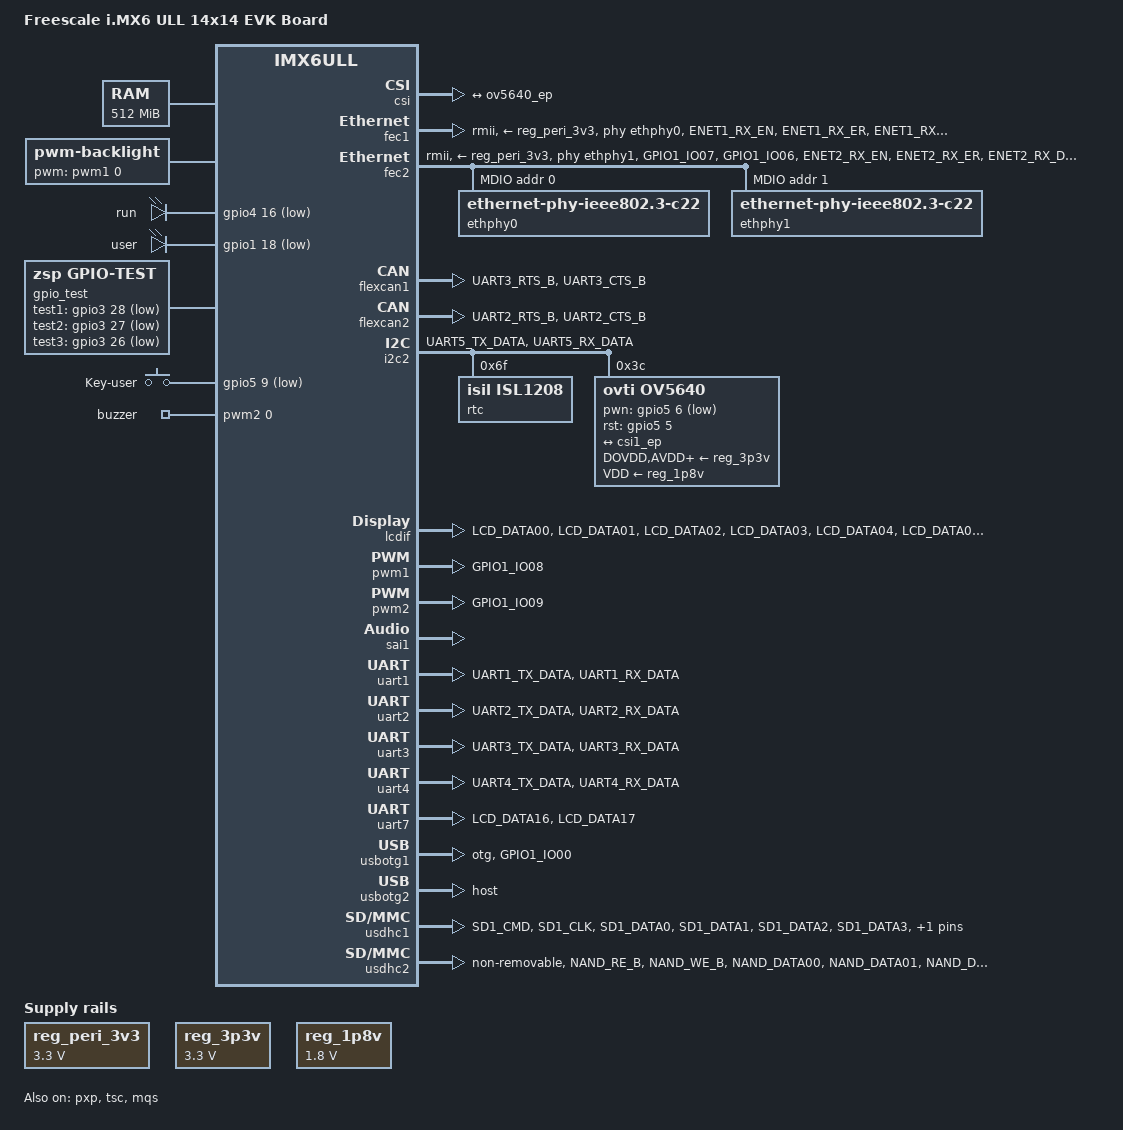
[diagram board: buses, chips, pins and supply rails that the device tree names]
/*
 * Copyright (C) 2016 Freescale Semiconductor, Inc.
 *
 * This program is free software; you can redistribute it and/or modify
 * it under the terms of the GNU General Public License version 2 as
 * published by the Free Software Foundation.
 */

/dts-v1/;

#include <dt-bindings/input/input.h>
#include "imx6ull.dtsi"

/ {
	model = "Freescale i.MX6 ULL 14x14 EVK Board";
	compatible = "fsl,imx6ull-14x14-evk", "fsl,imx6ull";

	chosen {
		stdout-path = &uart1;
	};

	memory {
		reg = <0x80000000 0x20000000>;	/* 512M */
	};

        reserved-memory {
		#address-cells = <1>;
		#size-cells = <1>;
		ranges;

		linux,cma {
			compatible = "shared-dma-pool";
			reusable;
			size = <0x14000000>;
			linux,cma-default;
		};
        };

	// watchdog: watchdog {
	// 	compatible = "cat82x-gpio-wdt"; 
	// 	pinctrl-names = "default";
	// 	pinctrl-0 = <&pinctrl_wdt>;
	// 	gpios = <&gpio5 0 0>;
	// 	hw_margin_ms = <700>;
	// };

	backlight {
		compatible = "pwm-backlight";
		pwms = <&pwm1 0 5000000>;
		brightness-levels = <0 1 2 3 4 5 6 7 8 9 10 11 12 13 14 15 16 17 18 19 20 21 22 23 24 25 
				26 27 28 29 30 31 32 33 34 35 36 37 38 39 40 41 42 43 44 45 46 47 48 49 
				50 51 52 53 54 55 56 57 58 59 60 61 62 63 64 65 66 67 68 69 70 71 72 73 
				74 75 76 77 78 79 80 81 82 83 84 85 86 87 88 89 90 91 92 93 94 95 96 97 98 99 100>;
		default-brightness-level = <60>;
		status = "okay";
	};

        leds {
		compatible = "gpio-leds";
		pinctrl-names = "default";
		pinctrl-0 = <&pinctrl_gpio_leds>;

		run {
			lable = "led-run";
			gpios = <&gpio4 16 GPIO_ACTIVE_LOW>;
			linux,default-trigger = "heartbeat";
			default-state = "off";
		};

       	user {
			lable = "led-user";
			gpios = <&gpio1 18 GPIO_ACTIVE_LOW>;
			linux,default-trigger = "none";
			default-state = "off";
		};
	};


	gpio_test{
		#address-cells = <1>;
		#size-cells = <1>;
		pinctrl-names = "default";
		compatible = "zsp,gpio-test";
		pinctrl-0 = <&pinctrl_gpio_test>;
		gpio_test1 = <&gpio3 28 GPIO_ACTIVE_LOW>;
		gpio_test2 = <&gpio3 27 GPIO_ACTIVE_LOW>;
		gpio_test3 = <&gpio3 26 GPIO_ACTIVE_LOW>;
		status = "okay";
	};

	keys {
		compatible = "gpio-keys";
		pinctrl-names = "default";
		pinctrl-0 = <&pinctrl_gpio_keys>;
                autorepeat;

		user {
			label = "Key-user";
			gpios = <&gpio5 9 GPIO_ACTIVE_LOW>;
			linux,code = <KEY_ENTER>;
		};
	};

	buzzer {
		compatible = "pwm-leds";

		buzzer {
			label = "buzzer";
			pwms = <&pwm2 0 400000>;
			max-brightness = <127>;
		};
	};

	pxp_v4l2 {
		compatible = "fsl,imx6ul-pxp-v4l2", "fsl,imx6sx-pxp-v4l2", "fsl,imx6sl-pxp-v4l2";
		status = "okay";
	};

	regulators {
		compatible = "simple-bus";
		#address-cells = <1>;
		#size-cells = <0>;

		reg_peri_3v3: regulator-peri_3v3 {
			compatible = "regulator-fixed";
			regulator-name = "peri_3v3";
			regulator-min-microvolt = <3300000>;
			regulator-max-microvolt = <3300000>;
		};

		reg_3p3v: 3p3v {
			compatible = "regulator-fixed";
			regulator-name = "3P3V";
			regulator-min-microvolt = <3300000>;
			regulator-max-microvolt = <3300000>;
			regulator-boot-on;
			regulator-always-on;
		};

		reg_1p8v: 1p8v {
			compatible = "regulator-fixed";
			regulator-name = "1P8V";
			regulator-min-microvolt = <1800000>;
			regulator-max-microvolt = <1800000>;
			regulator-boot-on;
			regulator-always-on;
		};
	};

	sound-mqs {
		compatible = "fsl,imx-audio-mqs";
		model = "mqs-audio";
		cpu-dai = <&sai1>;
		asrc-controller = <&asrc>;
		audio-codec = <&mqs>;
		status = "okay";
	};

	sii902x_reset: sii902x-reset {
                compatible = "gpio-reset";
                reset-gpios = <&gpio5 1 GPIO_ACTIVE_LOW>;
                reset-delay-us = <100000>;
                #reset-cells = <0>;
                status = "disabled";
        };
};

&clks {
	assigned-clocks = <&clks IMX6UL_CLK_PLL4_AUDIO_DIV>;
	assigned-clock-rates = <786432000>;
};

&csi {
	status = "okay";

	port {
		csi1_ep: endpoint {
			remote-endpoint = <&ov5640_ep>;
		};
	};	
};

// &ecspi1 {
//         fsl,spi-num-chipselects = <1>;
//         //cs-gpio = <&gpio1 20 GPIO_ACTIVE_LOW>;
//         pinctrl-names = "default";
//         pinctrl-0 = <&pinctrl_ecspi1>;
//         status = "disabled";
// };

&fec1 {
	pinctrl-names = "default";
	pinctrl-0 = <&pinctrl_enet1>;
	phy-supply = <&reg_peri_3v3>;
	phy-mode = "rmii";
	phy-handle = <&ethphy0>;
	phy-reset-gpios = <&gpio5 7 GPIO_ACTIVE_LOW>;
	phy-reset-duration = <26>;

	status = "okay"; 
};

&fec2 {
	pinctrl-names = "default";
	pinctrl-0 = <&pinctrl_enet2>;
	phy-supply = <&reg_peri_3v3>;
	phy-mode = "rmii";
	phy-handle = <&ethphy1>;
	
	phy-reset-gpios = <&gpio5 4 GPIO_ACTIVE_LOW>;
	phy-reset-duration = <26>;

	status = "okay";

	mdio {
		#address-cells = <1>;
		#size-cells = <0>;

		ethphy0: ethernet-phy@0 {
			compatible = "ethernet-phy-ieee802.3-c22";
			smsc,disable-energy-detect;
			reg = <0>;
		};

		ethphy1: ethernet-phy@1 {
			compatible = "ethernet-phy-ieee802.3-c22";
			smsc,disable-energy-detect;
			reg = <1>;
		};
	};
};

&flexcan1 {
	pinctrl-names = "default";
	pinctrl-0 = <&pinctrl_flexcan1>;
	status = "okay";
};

&flexcan2 {
	pinctrl-names = "default";
	pinctrl-0 = <&pinctrl_flexcan2>;
	status = "okay";
};

&gpc {
	fsl,cpu_pupscr_sw2iso = <0xf>;
	fsl,cpu_pupscr_sw = <0x0>;
	fsl,cpu_pdnscr_iso2sw = <0x1>;
	fsl,cpu_pdnscr_iso = <0x1>;
        /*	fsl,wdog-reset = <1>;*/ /* watchdog select of reset source */
	fsl,ldo-bypass = <0>; /* use ldo-bypass, u-boot will check it and configure */
};

&i2c2 {
	clock_frequency = <100000>;
	pinctrl-names = "default";
	pinctrl-0 = <&pinctrl_i2c2>;
	status = "okay";

	rtc@6f {
		compatible = "isil,isl1208";
		reg = <0x6f>;
	};

	sii902x: sii902x@39 {
                compatible = "SiI,sii902x";
		pinctrl-names = "default";

		pinctrl-0 = <&pinctrl_sii902x>;
		interrupt-parent = <&gpio4>;
		interrupts = <14 IRQ_TYPE_EDGE_FALLING>;
		irq-gpios = <&gpio4 14 GPIO_ACTIVE_LOW>;

		mode_str = "1920x1080M@60";
		bits-per-pixel = <16>;
		resets = <&sii902x_reset>;
		reg = <0x39>;
                status = "disabled";
        };

	ov5640: ov5640@3c {
		compatible = "ovti,ov5640";
		reg = <0x3c>;
		pinctrl-names = "default";
		pinctrl-0 = <&pinctrl_csi1 &pinctrl_csi_ctl>;
		clocks = <&clks IMX6UL_CLK_CSI>;
		clock-names = "csi_mclk";

		DOVDD-supply = <&reg_3p3v>;
		VDD-supply = <&reg_1p8v>;
		AVDD-supply = <&reg_3p3v>;
		DVDD-supply = <&reg_3p3v>;

		pwn-gpios = <&gpio5 6 1>;  
		rst-gpios = <&gpio5 5 0>; 
		csi_id = <0>;
		mclk = <24000000>;					 
		mclk_source = <0>;
		status = "okay";
		port {
			ov5640_ep: endpoint {
				remote-endpoint = <&csi1_ep>;
			};
		};
	};

	gt9xx@5d {
		compatible = "goodix,gt9147";
		reg = <0x5d>;
		pinctrl-names = "default";

		pinctrl-0 = <&pinctrl_ts_int_pin>;

		interrupt-parent = <&gpio5>;
		interrupts = <2 IRQ_TYPE_EDGE_FALLING>;
	
		irq-gpios = <&gpio5 2 GPIO_ACTIVE_HIGH>;
		reset-gpios = <&gpio5 3 GPIO_ACTIVE_HIGH>;

		status = "disabled";
    	};
};

&lcdif {
	pinctrl-names = "default";

	pinctrl-0 = <&pinctrl_lcdif_dat
			&pinctrl_lcdif_ctrl>;
	//enable-gpio = <&gpio3 4 0>;
	display = <&display0>;
	status = "okay";

	display0: display {
		bits-per-pixel = <16>;
		bus-width = <16>;

		display-timings {
			native-mode = <&timing0>;
			timing0: timing0 {
			clock-frequency = <30000000>;
			hactive = <800>;
			vactive = <480>;
			hfront-porch = <40>;
			hback-porch = <88>;
			hsync-len = <48>;
			vback-porch = <32>;
			vfront-porch = <13>;
			vsync-len = <3>;

			hsync-active = <0>;
			vsync-active = <0>;
			de-active = <1>;
			pixelclk-active = <0>;
			};
		};
	};
};

&pwm1 {
	pinctrl-names = "default";
	pinctrl-0 = <&pinctrl_pwm1>;
	status = "okay";
};

&pwm2 {
	pinctrl-names = "default";
	pinctrl-0 = <&pinctrl_pwm2>;
	status = "okay";
};

&pxp {
	status = "okay";
};

&tsc {
	pinctrl-names = "default";
	pinctrl-0 = <&pinctrl_tsc>;
	xnur-gpio = <&gpio1 3 GPIO_ACTIVE_LOW>;
	measure_delay_time = <0xffff>;
	pre_charge_time = <0xfff>;
	status = "okay";
};

&sai1 {
	assigned-clocks = <&clks IMX6UL_CLK_SAI1_SEL>,
			<&clks IMX6UL_CLK_SAI1>;
	assigned-clock-parents = <&clks IMX6UL_CLK_PLL4_AUDIO_DIV>;
	assigned-clock-rates = <0>, <24576000>;
	status = "okay";
};

&mqs {
	pinctrl-names = "default";
	pinctrl-0 = <&pinctrl_mqs>;
	clocks = <&clks IMX6UL_CLK_SAI1>;
	clock-names = "mclk";
	status = "okay";
};

&uart1 {
	pinctrl-names = "default";
	pinctrl-0 = <&pinctrl_uart1>;
	status = "okay";
};

&uart2 {
	pinctrl-names = "default";
	pinctrl-0 = <&pinctrl_uart2>;
	status = "okay";
};

&uart3 {
	pinctrl-names = "default";
	pinctrl-0 = <&pinctrl_uart3>;
	status = "okay";
};

&uart4 {
	pinctrl-names = "default";
	pinctrl-0 = <&pinctrl_uart4>;
	status = "okay";
};

&uart7 {
	pinctrl-names = "default";
	pinctrl-0 = <&pinctrl_uart7>;
	status = "okay";
};

&usbotg1 {
	pinctrl-names = "default";
	pinctrl-0 = <&pinctrl_usbotg1>;
	dr_mode = "otg";
	hnp-disable;
	srp-disable;
	adp-disable;
	status = "okay";
};

&usbotg2 {
	dr_mode = "host";
	disable-over-current;
	status = "okay";
};

&usbphy1 {
	tx-d-cal = <0x5>;
};

&usbphy2 {
	tx-d-cal = <0x5>;
};

&usdhc1 {
	pinctrl-names = "default", "state_100mhz", "state_200mhz";
	pinctrl-0 = <&pinctrl_usdhc1>;
	pinctrl-1 = <&pinctrl_usdhc1_100mhz>;
	pinctrl-2 = <&pinctrl_usdhc1_200mhz>;
	cd-gpios = <&gpio1 19 GPIO_ACTIVE_LOW>;
	/* wp-gpios = <&gpio1 18 GPIO_ACTIVE_HIGH>;*/
	keep-power-in-suspend;
	enable-sdio-wakeup;
	no-1-8-v;
	status = "okay";
};

&usdhc2 {
	pinctrl-names = "default";
	pinctrl-0 = <&pinctrl_usdhc2>;
	non-removable;
	status = "okay";
};

// &wdog1 {
// 	pinctrl-names = "default";
// 	pinctrl-0 = <&pinctrl_wdog>;
// 	fsl,wdog_b;
// };

&adc1 {
	pinctrl-names = "default";
	pinctrl-0 = <&pinctrl_adc1>;
	num-channels = <4>;
	status = "disabled";
};

&iomuxc {
    pinctrl-names = "default";
    pinctrl-0 = <&pinctrl_hog_1>;
    imx6ul-evk {
	pinctrl_hog_1: hoggrp-1 {
		fsl,pins = <
			MX6UL_PAD_LCD_RESET__GPIO3_IO04		0x17059 /* gpio3_4 */

			MX6UL_PAD_JTAG_TCK__GPIO1_IO14		0x17059
			MX6UL_PAD_JTAG_TMS__GPIO1_IO11		0x17059
			MX6UL_PAD_JTAG_TRST_B__GPIO1_IO15	0x17059

		/*	MX6UL_PAD_LCD_DATA23__GPIO3_IO28	0x17059	*/
		>;
	};

	pinctrl_gpio_leds: gpio-leds {
		fsl,pins = <
			MX6UL_PAD_NAND_DQS__GPIO4_IO16		0x17059 /* led run */
			MX6UL_PAD_UART1_CTS_B__GPIO1_IO18	0x17059 /* led user */    
		>;
	};

	pinctrl_gpio_test: gpio-test {
		fsl,pins = <
			MX6UL_PAD_LCD_DATA23__GPIO3_IO28	0x17059 /* test1 */  
			MX6UL_PAD_LCD_DATA22__GPIO3_IO27	0x17059 /* test2 */  
			MX6UL_PAD_LCD_DATA21__GPIO3_IO26	0x17059 /* test3 */
			  
		>;
	};

	pinctrl_enet1: enet1grp {
		fsl,pins = <
			MX6UL_PAD_ENET1_RX_EN__ENET1_RX_EN	0x1b0b0
			MX6UL_PAD_ENET1_RX_ER__ENET1_RX_ER	0x1b0b0
			MX6UL_PAD_ENET1_RX_DATA0__ENET1_RDATA00	0x1b0b0
			MX6UL_PAD_ENET1_RX_DATA1__ENET1_RDATA01	0x1b0b0
			MX6UL_PAD_ENET1_TX_EN__ENET1_TX_EN	0x1b0b0
			MX6UL_PAD_ENET1_TX_DATA0__ENET1_TDATA00	0x1b0b0
			MX6UL_PAD_ENET1_TX_DATA1__ENET1_TDATA01	0x1b0b0
			MX6UL_PAD_ENET1_TX_CLK__ENET1_REF_CLK1	0x4001b031
		>;
	};

	pinctrl_enet2: enet2grp {
		fsl,pins = <
			MX6UL_PAD_GPIO1_IO07__ENET2_MDC		0x1b0b0
			MX6UL_PAD_GPIO1_IO06__ENET2_MDIO	0x1b0b0
			MX6UL_PAD_ENET2_RX_EN__ENET2_RX_EN	0x1b0b0
			MX6UL_PAD_ENET2_RX_ER__ENET2_RX_ER	0x1b0b0
			MX6UL_PAD_ENET2_RX_DATA0__ENET2_RDATA00	0x1b0b0
			MX6UL_PAD_ENET2_RX_DATA1__ENET2_RDATA01	0x1b0b0
			MX6UL_PAD_ENET2_TX_EN__ENET2_TX_EN	0x1b0b0
			MX6UL_PAD_ENET2_TX_DATA0__ENET2_TDATA00	0x1b0b0
			MX6UL_PAD_ENET2_TX_DATA1__ENET2_TDATA01	0x1b0b0
			MX6UL_PAD_ENET2_TX_CLK__ENET2_REF_CLK2	0x4001b031
		>;
	};

	pinctrl_flexcan1: flexcan1grp{
		fsl,pins = <
			MX6UL_PAD_UART3_RTS_B__FLEXCAN1_RX	0x1b020
			MX6UL_PAD_UART3_CTS_B__FLEXCAN1_TX	0x1b020
		>;
	};

	pinctrl_flexcan2: flexcan2grp{
		fsl,pins = <
			MX6UL_PAD_UART2_RTS_B__FLEXCAN2_RX	0x1b020
			MX6UL_PAD_UART2_CTS_B__FLEXCAN2_TX	0x1b020
		>;
	};

	pinctrl_lcdif_dat: lcdifdatgrp {
		fsl,pins = <
			MX6UL_PAD_LCD_DATA00__LCDIF_DATA00  0x79
			MX6UL_PAD_LCD_DATA01__LCDIF_DATA01  0x79
			MX6UL_PAD_LCD_DATA02__LCDIF_DATA02  0x79
			MX6UL_PAD_LCD_DATA03__LCDIF_DATA03  0x79
			MX6UL_PAD_LCD_DATA04__LCDIF_DATA04  0x79
			MX6UL_PAD_LCD_DATA05__LCDIF_DATA05  0x79
			MX6UL_PAD_LCD_DATA06__LCDIF_DATA06  0x79
			MX6UL_PAD_LCD_DATA07__LCDIF_DATA07  0x79
			MX6UL_PAD_LCD_DATA08__LCDIF_DATA08  0x79
			MX6UL_PAD_LCD_DATA09__LCDIF_DATA09  0x79
			MX6UL_PAD_LCD_DATA10__LCDIF_DATA10  0x79
			MX6UL_PAD_LCD_DATA11__LCDIF_DATA11  0x79
			MX6UL_PAD_LCD_DATA12__LCDIF_DATA12  0x79
			MX6UL_PAD_LCD_DATA13__LCDIF_DATA13  0x79
			MX6UL_PAD_LCD_DATA14__LCDIF_DATA14  0x79
			MX6UL_PAD_LCD_DATA15__LCDIF_DATA15  0x79
		>;
	};

	pinctrl_lcdif_ctrl: lcdifctrlgrp {
		fsl,pins = <
			MX6UL_PAD_LCD_CLK__LCDIF_CLK	    0x79
			MX6UL_PAD_LCD_ENABLE__LCDIF_ENABLE  0x79
			MX6UL_PAD_LCD_HSYNC__LCDIF_HSYNC    0x79
			MX6UL_PAD_LCD_VSYNC__LCDIF_VSYNC    0x79
		>;
	};

	// LCD 背光
	pinctrl_pwm1: pwm1grp {
		fsl,pins = <
			MX6UL_PAD_GPIO1_IO08__PWM1_OUT   0x110b0
		>;
	};

	// 蜂鸣器
	pinctrl_pwm2: pwm2grp {
		fsl,pins = <
			MX6UL_PAD_GPIO1_IO09__PWM2_OUT	0x110b0
		>;
	};

	pinctrl_mqs: mqsgrp {
		fsl,pins = <
			MX6UL_PAD_JTAG_TDI__MQS_LEFT	0x11088
			MX6UL_PAD_JTAG_TDO__MQS_RIGHT	0x11088
		>;
	};
	
	// Debug 串口
	pinctrl_uart1: uart1grp {
		fsl,pins = <
			MX6UL_PAD_UART1_TX_DATA__UART1_DCE_TX 0x1b0b1
			MX6UL_PAD_UART1_RX_DATA__UART1_DCE_RX 0x1b0b1
		>;
	};

	pinctrl_uart2: uart2grp {
		fsl,pins = <
			MX6UL_PAD_UART2_TX_DATA__UART2_DCE_TX	0x1b0b1
			MX6UL_PAD_UART2_RX_DATA__UART2_DCE_RX	0x1b0b1
		>;
	};

	pinctrl_uart3: uart3grp {
		fsl,pins = <
			MX6UL_PAD_UART3_TX_DATA__UART3_DCE_TX	0x1b0b1
			MX6UL_PAD_UART3_RX_DATA__UART3_DCE_RX	0x1b0b1
		>;
	};

	pinctrl_uart4: uart4grp {
		fsl,pins = <
			MX6UL_PAD_UART4_TX_DATA__UART4_DCE_TX	0x1b0b1
			MX6UL_PAD_UART4_RX_DATA__UART4_DCE_RX	0x1b0b1
		>;
	};

	pinctrl_uart7: uart7grp {
		fsl,pins = <
			MX6UL_PAD_LCD_DATA16__UART7_DCE_TX	0x1b0b1
			MX6UL_PAD_LCD_DATA17__UART7_DCE_RX	0x1b0b1
		>;
	};

	pinctrl_i2c2: i2c2grp {
		fsl,pins = <
			MX6UL_PAD_UART5_TX_DATA__I2C2_SCL 0x4001b8b0
			MX6UL_PAD_UART5_RX_DATA__I2C2_SDA 0x4001b8b0
		>;
	};

	pinctrl_usbotg1: usbotg1grp {
		fsl,pins = <
			MX6UL_PAD_GPIO1_IO00__ANATOP_OTG1_ID 0x17059
		>;
	};

	pinctrl_usbotg2: usbotg2grp {
		fsl,pins = <
			MX6UL_PAD_GPIO1_IO05__ANATOP_OTG2_ID 0x17059
		>;
	};

	pinctrl_usdhc1: usdhc1grp {
		fsl,pins = <
			MX6UL_PAD_SD1_CMD__USDHC1_CMD     0x17059
			MX6UL_PAD_SD1_CLK__USDHC1_CLK     0x10071
			MX6UL_PAD_SD1_DATA0__USDHC1_DATA0 0x17059
			MX6UL_PAD_SD1_DATA1__USDHC1_DATA1 0x17059
			MX6UL_PAD_SD1_DATA2__USDHC1_DATA2 0x17059
			MX6UL_PAD_SD1_DATA3__USDHC1_DATA3 0x17059
		>;
	};

	pinctrl_usdhc1_100mhz: usdhc1grp100mhz {
		fsl,pins = <
			MX6UL_PAD_SD1_CMD__USDHC1_CMD     0x170b9
			MX6UL_PAD_SD1_CLK__USDHC1_CLK     0x100b9
			MX6UL_PAD_SD1_DATA0__USDHC1_DATA0 0x170b9
			MX6UL_PAD_SD1_DATA1__USDHC1_DATA1 0x170b9
			MX6UL_PAD_SD1_DATA2__USDHC1_DATA2 0x170b9
			MX6UL_PAD_SD1_DATA3__USDHC1_DATA3 0x170b9
		>;
	};

	pinctrl_usdhc1_200mhz: usdhc1grp200mhz {
		fsl,pins = <
			MX6UL_PAD_SD1_CMD__USDHC1_CMD     0x170f9
			MX6UL_PAD_SD1_CLK__USDHC1_CLK     0x100f9
			MX6UL_PAD_SD1_DATA0__USDHC1_DATA0 0x170f9
			MX6UL_PAD_SD1_DATA1__USDHC1_DATA1 0x170f9
			MX6UL_PAD_SD1_DATA2__USDHC1_DATA2 0x170f9
			MX6UL_PAD_SD1_DATA3__USDHC1_DATA3 0x170f9
		>;
	};

	pinctrl_usdhc2: usdhc2grp {
			fsl,pins = <
				MX6UL_PAD_NAND_RE_B__USDHC2_CLK     0x10069
				MX6UL_PAD_NAND_WE_B__USDHC2_CMD     0x17059
				MX6UL_PAD_NAND_DATA00__USDHC2_DATA0 0x17059
				MX6UL_PAD_NAND_DATA01__USDHC2_DATA1 0x17059
				MX6UL_PAD_NAND_DATA02__USDHC2_DATA2 0x17059
				MX6UL_PAD_NAND_DATA03__USDHC2_DATA3 0x17059
			>;
		};

	pinctrl_usdhc2_8bit: usdhc2grp_8bit {
		fsl,pins = <
			MX6UL_PAD_NAND_RE_B__USDHC2_CLK     0x10069
			MX6UL_PAD_NAND_WE_B__USDHC2_CMD     0x17059
			MX6UL_PAD_NAND_DATA00__USDHC2_DATA0 0x17059
			MX6UL_PAD_NAND_DATA01__USDHC2_DATA1 0x17059
			MX6UL_PAD_NAND_DATA02__USDHC2_DATA2 0x17059
			MX6UL_PAD_NAND_DATA03__USDHC2_DATA3 0x17059
			MX6UL_PAD_NAND_DATA04__USDHC2_DATA4 0x17059
			MX6UL_PAD_NAND_DATA05__USDHC2_DATA5 0x17059
			MX6UL_PAD_NAND_DATA06__USDHC2_DATA6 0x17059
			MX6UL_PAD_NAND_DATA07__USDHC2_DATA7 0x17059
		>;
	};

	pinctrl_usdhc2_8bit_100mhz: usdhc2grp_8bit_100mhz {
		fsl,pins = <
			MX6UL_PAD_NAND_RE_B__USDHC2_CLK     0x100b9
			MX6UL_PAD_NAND_WE_B__USDHC2_CMD     0x170b9
			MX6UL_PAD_NAND_DATA00__USDHC2_DATA0 0x170b9
			MX6UL_PAD_NAND_DATA01__USDHC2_DATA1 0x170b9
			MX6UL_PAD_NAND_DATA02__USDHC2_DATA2 0x170b9
			MX6UL_PAD_NAND_DATA03__USDHC2_DATA3 0x170b9
			MX6UL_PAD_NAND_DATA04__USDHC2_DATA4 0x170b9
			MX6UL_PAD_NAND_DATA05__USDHC2_DATA5 0x170b9
			MX6UL_PAD_NAND_DATA06__USDHC2_DATA6 0x170b9
			MX6UL_PAD_NAND_DATA07__USDHC2_DATA7 0x170b9
		>;
	};

	pinctrl_usdhc2_8bit_200mhz: usdhc2grp_8bit_200mhz {
		fsl,pins = <
			MX6UL_PAD_NAND_RE_B__USDHC2_CLK     0x100f9
			MX6UL_PAD_NAND_WE_B__USDHC2_CMD     0x170f9
			MX6UL_PAD_NAND_DATA00__USDHC2_DATA0 0x170f9
			MX6UL_PAD_NAND_DATA01__USDHC2_DATA1 0x170f9
			MX6UL_PAD_NAND_DATA02__USDHC2_DATA2 0x170f9
			MX6UL_PAD_NAND_DATA03__USDHC2_DATA3 0x170f9
			MX6UL_PAD_NAND_DATA04__USDHC2_DATA4 0x170f9
			MX6UL_PAD_NAND_DATA05__USDHC2_DATA5 0x170f9
			MX6UL_PAD_NAND_DATA06__USDHC2_DATA6 0x170f9
			MX6UL_PAD_NAND_DATA07__USDHC2_DATA7 0x170f9
		>;
	};

	pinctrl_tsc: tscgrp {
		fsl,pins = <
			MX6UL_PAD_GPIO1_IO01__GPIO1_IO01	0xb0
			MX6UL_PAD_GPIO1_IO02__GPIO1_IO02	0xb0
			MX6UL_PAD_GPIO1_IO03__GPIO1_IO03	0xb0
			MX6UL_PAD_GPIO1_IO04__GPIO1_IO04	0xb0
		>;
	};

	pinctrl_adc1: adc1grp {
		fsl,pins = <
			MX6UL_PAD_GPIO1_IO01__GPIO1_IO01	0xb0
			MX6UL_PAD_GPIO1_IO02__GPIO1_IO02	0xb0
			MX6UL_PAD_GPIO1_IO03__GPIO1_IO03	0xb0
			MX6UL_PAD_GPIO1_IO04__GPIO1_IO04	0xb0
		>;
	};

	pinctrl_ecspi1: ecspi1grp {
		fsl,pins = <
			MX6UL_PAD_LCD_DATA20__ECSPI1_SCLK	0x17011
			MX6UL_PAD_LCD_DATA21__ECSPI1_SS0	0x17011
			MX6UL_PAD_LCD_DATA22__ECSPI1_MOSI	0x17011
			MX6UL_PAD_LCD_DATA23__ECSPI1_MISO	0x17011
		>;
	};

	pinctrl_csi1: csi1grp {
		fsl,pins = <
			MX6UL_PAD_CSI_MCLK__CSI_MCLK		0x1b088
			MX6UL_PAD_CSI_PIXCLK__CSI_PIXCLK	0x1b088
			MX6UL_PAD_CSI_VSYNC__CSI_VSYNC		0x1b088
			MX6UL_PAD_CSI_HSYNC__CSI_HSYNC		0x1b088
			MX6UL_PAD_CSI_DATA00__CSI_DATA02	0x1b088
			MX6UL_PAD_CSI_DATA01__CSI_DATA03	0x1b088
			MX6UL_PAD_CSI_DATA02__CSI_DATA04	0x1b088
			MX6UL_PAD_CSI_DATA03__CSI_DATA05	0x1b088
			MX6UL_PAD_CSI_DATA04__CSI_DATA06	0x1b088
			MX6UL_PAD_CSI_DATA05__CSI_DATA07	0x1b088
			MX6UL_PAD_CSI_DATA06__CSI_DATA08	0x1b088
			MX6UL_PAD_CSI_DATA07__CSI_DATA09	0x1b088
		>;
	};

	pinctrl_sii902x: hdmigrp {
		fsl,pins = <
			MX6UL_PAD_NAND_CE1_B__GPIO4_IO14	0x11
		>;
	};
    };
};

&iomuxc_snvs {
        pinctrl-names = "default";
        pinctrl-0 = <&pinctrl_hog_2>;
        status = "okay";
	imx6ul-evk {
		pinctrl_hog_2: hoggrp-2 {
			fsl,pins = <
				MX6ULL_PAD_SNVS_TAMPER8__GPIO5_IO08	0x10b0	   /* 4G RST*/
			>;
		};

		pinctrl_wdt: wdtgrp {
			fsl,pins = <
				MX6ULL_PAD_SNVS_TAMPER0__GPIO5_IO00	0x17059 /* wdog */
			>;
		};

                pinctrl_ts_int_pin: ts_int_pin_mux {
			fsl,pins = <
				MX6ULL_PAD_SNVS_TAMPER2__GPIO5_IO02        0x17059	/* CAP IRQ */
			>;
                };

		pinctrl_gpio_keys: keysgrp {
			fsl,pins = <
				MX6ULL_PAD_SNVS_TAMPER9__GPIO5_IO09	0x17059
			>;
		};

		pinctrl_csi_ctl: csictlgrp {
			fsl,pins = <
				MX6ULL_PAD_SNVS_TAMPER5__GPIO5_IO05	0x10b0 /* csi_reset */
				MX6ULL_PAD_SNVS_TAMPER6__GPIO5_IO06	0x10b0 /* csi_en */	
			>;
		};
		
                pinctrl_fec1_reset: fec1_resetgrp {
			fsl,pins = <
				MX6ULL_PAD_SNVS_TAMPER7__GPIO5_IO07     0x79
			>;
		};

                pinctrl_fec2_reset: fec2_resetgrp {
			fsl,pins = <
				MX6ULL_PAD_SNVS_TAMPER4__GPIO5_IO04     0x79
			>;
		};
	};
};


